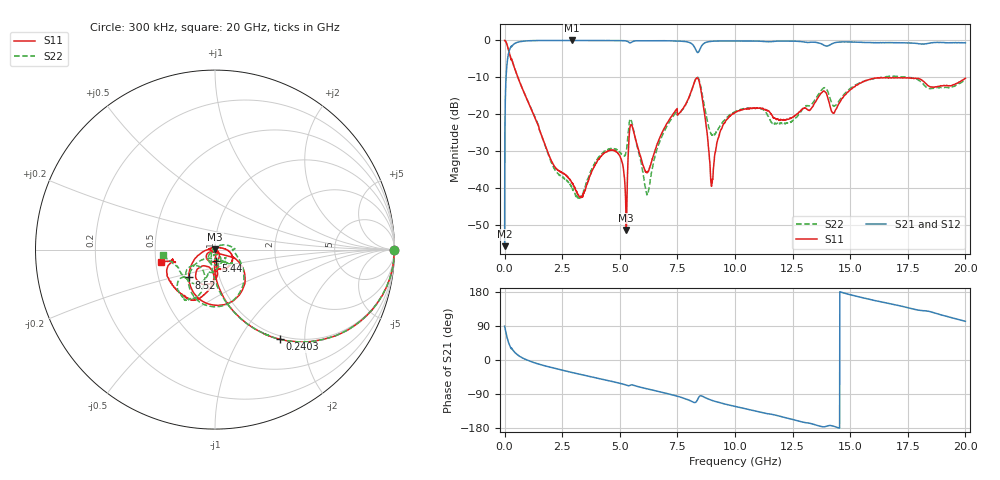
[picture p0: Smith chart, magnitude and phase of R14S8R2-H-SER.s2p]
!{R14S8R2}
!Johanson Technology Inc.
!www.johansontechnology.com
!Test Board Conditions:
!Substrate Type  RO4350B
!Substrate Thickness  20 mil
!Substrate Dk  3.66
!TL Type: GCPW
!TL Trace Width  36 mil
!TL Gap  12 mil
!Electrode orientation  Horizontal
!DUT TOPOLOGY	SERIES
!Mounting Pad LxW  26x36 mil
! Created Wed Nov 25 17:33:21 2020
! 2 Port Network Data from SP1.SP block
! freq  magS11  angS11  magS21  angS21  magS12  angS12  magS22  angS22
# khz S ma R 50
! decimated to every 10th point (10 MHz spacing) of the original 1 MHz Johanson file; values unchanged
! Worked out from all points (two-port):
!   2001 points, 300 kHz to 20 GHz, reference 50 ohm
!   highest |S21| = -0.02 dB at 2.92 GHz (marker M1); lowest = -55.9 dB at 300 kHz (marker M2)
!   |S21| within 3 dB of the highest: 191.9 MHz to 8.335 GHz (8.143 GHz wide, 191 % of centre); 8.433 GHz to end of sweep
!   lowest |S11| = -51.5 dB at 5.28 GHz (marker M3), VSWR 1.01, Z = 50 + j0.268 ohm
!   |S11| at or under -10 dB: 573.3 MHz to end of sweep
!   |S22| runs from -43.3 to 0.0 dB; largest |S21 - S12| = 0.017
!   S11 on the Smith chart (normalised r, x): 300 kHz: open; 240.3 MHz: 0.94, -1.52; 5.44 GHz: 1.00, -0.13; 8.52 GHz: 0.71, -0.23; 20 GHz: 0.54, -0.08
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300  0.9972 -0.3  0.001607 89.3  0.001519 89.0  0.9979 -0.2
110300  0.8652 -31.2  0.4976 58.8  0.4985 58.7  0.8657 -31.0
240300  0.6174 -54.0  0.7819 35.7  0.7825 35.7  0.6183 -54.0
870300  0.1871 -85.9  0.9808 2.6  0.9803 2.6  0.188 -88.1
2070300  0.02204 -64.4  0.997 -20.5  0.9978 -20.5  0.02035 -152.0
2920300  0.01176 -38.3  0.9983 -32.9  0.9975 -32.9  0.009826 155.7
3340300  0.007366 -96.9  0.9977 -38.7  0.9961 -38.7  0.007732 -143.0
4580300  0.03234 175.3  0.9943 -55.5  0.9944 -55.5  0.03388 -102.8
5010300  0.02656 165.8  0.9939 -61.6  0.9924 -61.6  0.03011 -99.0
5280300  0.002676 90.0  0.9819 -66.2  0.9819 -66.2  0.0313 -62.5
5440300  0.06553 -86.2  0.9237 -66.8  0.923 -66.8  0.08488 -81.5
6180300  0.01619 -100.8  0.9916 -76.0  0.9924 -75.9  0.008231 137.0
6670300  0.04241 -37.1  0.992 -83.0  0.9914 -82.9  0.03749 39.9
8160300  0.2293 -43.0  0.8804 -110.5  0.8781 -110.5  0.2289 -45.5
8520300  0.213 -133.3  0.8096 -94.4  0.8079 -94.3  0.2317 -130.1
8990300  0.01121 89.4  0.9725 -106.4  0.9727 -106.5  0.05186 -108.2
9410300  0.06223 -0.0  0.9803 -113.9  0.9828 -113.8  0.07232 -61.0
1.00003e7  0.1046 -22.0  0.9819 -122.4  0.9819 -122.5  0.1077 -46.9
1.22403e7  0.08477 -82.8  0.9782 -152.9  0.9793 -152.9  0.07569 -50.7
1.33403e7  0.1227 -84.6  0.9464 -168.5  0.9477 -168.5  0.1368 -106.2
1.66703e7  0.3074 -122.5  0.9326 149.3  0.9257 148.9  0.3245 -120.0
2e7  0.3061 -167.5  0.926 102.1  0.9254 102.3  0.292 -173.6
